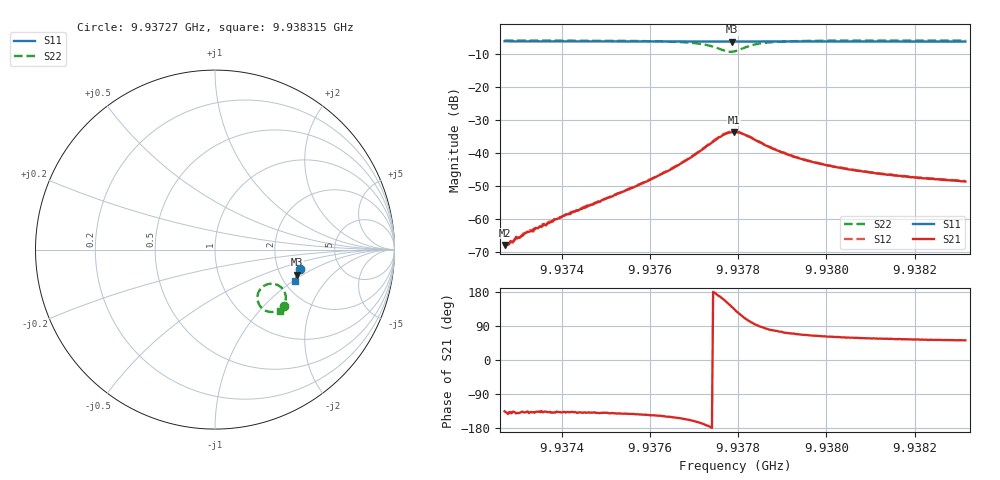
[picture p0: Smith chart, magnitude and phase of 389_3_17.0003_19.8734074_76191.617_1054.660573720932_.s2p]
#  HZ  S  RI  R  50.00
! Rohde & Schwarz Vector Network Analyzer
! Rohde-Schwarz,ZNB20-2Port,1311601062101988,3.16
! Created: UTC 3/20/2024, 11:09:34 PM
! freq[Hz]  re:S11  im:S11  re:S21  im:S21  re:S12  im:S12  re:S22  im:S22
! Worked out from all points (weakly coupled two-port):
!   401 points, 9.93727 GHz to 9.938315 GHz, reference 50 ohm
!   highest |S21| = -33.70 dB at 9.93779 GHz (marker M1); lowest = -67.9 dB at 9.93727 GHz (marker M2)
!   lowest |S11| = -6.4 dB at 9.937785 GHz (marker M3), VSWR 2.84, Z = 123 - j44.4 ohm
!   |S11| at or under -10 dB: nowhere
!   |S22| runs from -9.5 to -6.1 dB; largest |S21 - S12| = 0.00091
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9.9372705e9  0.4719 -0.1064  -0.000287 -0.000282  -0.000308 -0.000248  0.386 -0.3148
9.9372861e9  0.4715 -0.1075  -0.000354 -0.000289  -0.000351 -0.000274  0.3847 -0.3158
9.9373175e9  0.4707 -0.1096  -0.000455 -0.000412  -0.000479 -0.000388  0.3824 -0.318
9.9373697e9  0.4697 -0.1132  -0.000635 -0.000577  -0.000668 -0.000604  0.3782 -0.3219
9.9374062e9  0.469 -0.1156  -0.00083 -0.000776  -0.000842 -0.000737  0.3748 -0.3248
9.9374454e9  0.4681 -0.118  -0.00106 -0.000926  -0.00111 -0.000974  0.3708 -0.328
9.937529e9  0.4661 -0.1238  -0.00191 -0.00153  -0.00193 -0.0015  0.3598 -0.3352
9.9376203e9  0.464 -0.1298  -0.00381 -0.00247  -0.0039 -0.00242  0.3388 -0.3445
9.937683e9  0.4624 -0.1341  -0.00712 -0.00303  -0.00727 -0.00298  0.3089 -0.3474
9.9377248e9  0.4608 -0.1369  -0.0119 -0.00191  -0.0121 -0.00178  0.2711 -0.3342
9.9377639e9  0.4591 -0.1387  -0.0175 0.00551  -0.0175 0.0059  0.2363 -0.2689
9.9377848e9  0.4584 -0.1389  -0.0158 0.0131  -0.0158 0.0136  0.2592 -0.2133
9.9377901e9  0.4585 -0.1392  -0.0146 0.0146  -0.0145 0.0153  0.2717 -0.203
9.9377927e9  0.4585 -0.1393  -0.0138 0.0152  -0.0136 0.0159  0.2785 -0.199
9.9378109e9  0.4589 -0.1399  -0.00767 0.0176  -0.00739 0.018  0.3284 -0.191
9.9378501e9  0.4588 -0.1427  0.000555 0.0142  0.00074 0.0143  0.3849 -0.2312
9.9378736e9  0.4585 -0.1445  0.00218 0.0117  0.00243 0.012  0.3932 -0.2542
9.9379128e9  0.4576 -0.1474  0.00309 0.00892  0.00322 0.00887  0.3942 -0.2798
9.9379676e9  0.4565 -0.1512  0.00313 0.00656  0.00326 0.0066  0.389 -0.3
9.9380642e9  0.4539 -0.1575  0.00284 0.0046  0.00298 0.00462  0.3791 -0.3192
9.9381426e9  0.4518 -0.1626  0.00261 0.00385  0.00272 0.00383  0.3724 -0.3287
9.9383149e9  0.4471 -0.1736  0.00227 0.00289  0.00236 0.00293  0.3596 -0.3433
